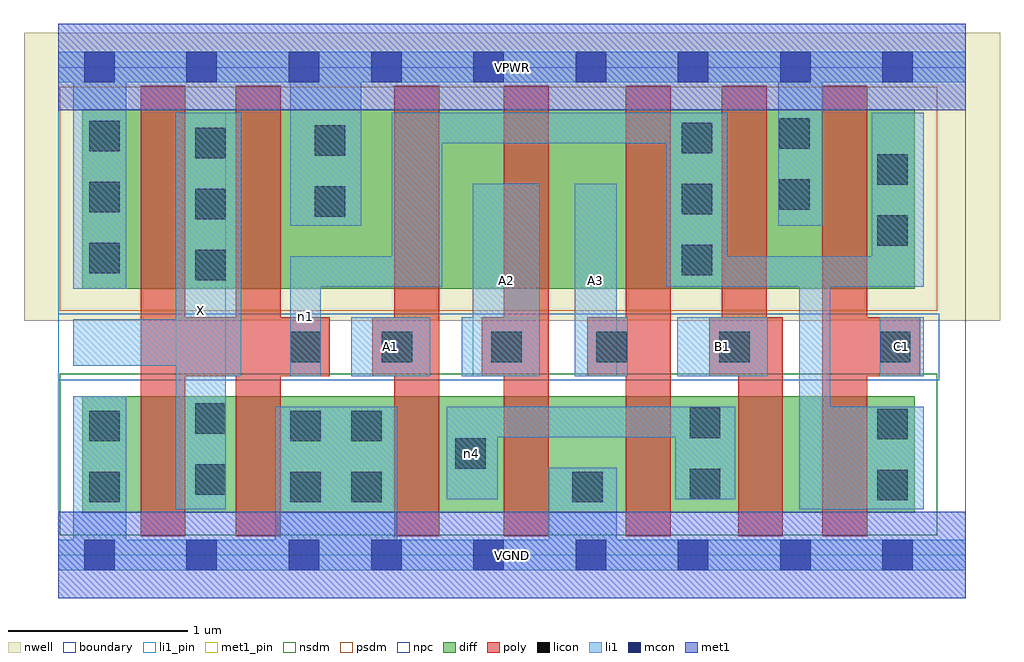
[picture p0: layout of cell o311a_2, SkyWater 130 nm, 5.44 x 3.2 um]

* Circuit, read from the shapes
.subckt o311a_2 A1 A2 A3 B1 C1 VGND VPWR X n1 n4
XM1 X n1 VGND VSUBS sky130_fd_pr__nfet_01v8 w=0.65 l=0.25 m=2
XM2 n4 A1 VGND VSUBS sky130_fd_pr__nfet_01v8 w=0.65 l=0.25
XM3 VGND A2 n4 VSUBS sky130_fd_pr__nfet_01v8 w=0.65 l=0.25
XM4 n4 A3 VGND VSUBS sky130_fd_pr__nfet_01v8 w=0.65 l=0.25
XM5 n2 B1 n4 VSUBS sky130_fd_pr__nfet_01v8 w=0.65 l=0.25
XM6 n1 C1 n2 VSUBS sky130_fd_pr__nfet_01v8 w=0.65 l=0.25
XM7 X n1 VPWR n3 sky130_fd_pr__pfet_01v8 w=1 l=0.25 m=2
XM8 n5 A1 VPWR n3 sky130_fd_pr__pfet_01v8 w=1 l=0.25
XM9 n6 A2 n5 n3 sky130_fd_pr__pfet_01v8 w=1 l=0.25
XM10 n1 A3 n6 n3 sky130_fd_pr__pfet_01v8 w=1 l=0.25
XM11 VPWR B1 n1 n3 sky130_fd_pr__pfet_01v8 w=1 l=0.25
XM12 n1 C1 VPWR n3 sky130_fd_pr__pfet_01v8 w=1 l=0.25
.ends

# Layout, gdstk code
import gdstk
lib = gdstk.Library(unit=1e-6, precision=1e-09)
def R(c, l, rs):  # rectangles x0, y0, x1, y1
    for r in rs: c.add(gdstk.rectangle(r[:2], r[2:], *l))
def A(c, l, x, y, w, h, nx, ny, dx, dy):  # array of equal rectangles
    R(c, l, [(x+i*dx, y+j*dy, x+i*dx+w, y+j*dy+h) for i in range(nx) for j in range(ny)])
nwell = (64, 20)
diff = (65, 20)
poly = (66, 20)
licon = (66, 44)
li1_pin = (67, 16)
li1 = (67, 20)
mcon = (67, 44)
met1_pin = (68, 16)
met1 = (68, 20)
nsdm = (93, 44)
psdm = (94, 20)
npc = (95, 20)
boundary = (235, 4)

o311a_2 = lib.new_cell('o311a_2')
R(o311a_2, nwell, [(-0.19,1.305,5.25,2.91), (0,1.305,5.06,2.91)])
R(o311a_2, diff, [(0.135,0.235,4.775,0.885), (0.135,1.485,4.775,2.485)])
R(o311a_2, poly, [(0.46,0.105,0.71,2.615), (0.99,0.105,1.24,2.615), (1.875,0.105,2.125,2.615), (2.485,0.105,2.735,2.615), (3.165,0.105,3.415,2.615), (3.79,0.105,4.04,1.325), (4.26,0.105,4.51,2.615), (0.46,0.995,1.515,1.325), (1.75,0.995,2.125,1.325), (2.36,0.995,2.735,1.325), (2.95,0.995,3.415,1.325), (3.63,0.995,4.04,1.325), (3.7,0.995,3.95,2.615), (4.26,0.995,4.805,1.325)])
A(o311a_2, licon, 0.765, 1.53, 0.17, 0.17, 1, 3, 0, 0.34)
A(o311a_2, licon, 3.475, 1.56, 0.17, 0.17, 1, 3, 0, 0.34)
A(o311a_2, licon, 0.175, 1.57, 0.17, 0.17, 1, 3, 0, 0.34)
R(o311a_2, licon, [(0.175,0.295,0.345,0.465), (1.295,0.295,1.465,0.465), (1.635,0.295,1.805,0.465), (2.865,0.295,3.035,0.465), (4.565,0.305,4.735,0.475), (3.52,0.31,3.69,0.48), (0.765,0.335,0.935,0.505), (2.215,0.48,2.385,0.65), (0.175,0.635,0.345,0.805), (1.295,0.635,1.465,0.805), (1.635,0.635,1.805,0.805), (4.565,0.645,4.735,0.815), (3.52,0.65,3.69,0.82), (0.765,0.675,0.935,0.845), (1.295,1.075,1.465,1.245), (1.805,1.075,1.975,1.245), (2.415,1.075,2.585,1.245), (3,1.075,3.17,1.245), (3.685,1.075,3.855,1.245), (4.58,1.075,4.75,1.245), (4.565,1.725,4.735,1.895), (1.43,1.885,1.6,2.055), (4.02,1.925,4.19,2.095), (4.565,2.065,4.735,2.235), (1.43,2.225,1.6,2.395), (4.02,2.265,4.19,2.435)])
R(o311a_2, li1_pin, [(0.655,0.255,0.935,2.465), (1.635,0.995,2.075,1.325), (2.31,0.995,2.685,2.07), (2.88,0.995,3.115,2.07), (3.45,0.995,3.955,1.325), (4.58,0.995,4.825,1.325)])
R(o311a_2, li1, [(0,-0.085,5.06,0.085), (0.085,-0.085,0.38,0.885), (1.21,-0.085,1.89,0.825), (2.735,-0.085,3.115,0.485), (0.655,0.255,0.935,2.465), (4.13,0.255,4.825,0.825), (4.13,0.255,4.305,1.665), (2.165,0.31,2.45,0.825), (3.44,0.31,3.775,0.825), (2.165,0.655,3.775,0.825), (0.655,0.995,1.02,2.465), (1.295,0.995,1.465,1.665), (1.635,0.995,2.075,1.325), (2.25,0.995,2.685,1.325), (2.31,0.995,2.685,2.07), (2.88,0.995,3.115,2.07), (2.88,0.995,3.175,1.325), (3.45,0.995,3.955,1.325), (4.58,0.995,4.825,1.325), (0.085,1.055,1.02,1.315), (0.085,1.485,0.38,2.805), (1.295,1.495,2.14,1.665), (1.86,1.495,2.14,2.465), (3.39,1.495,3.73,2.465), (3.39,1.495,4.825,1.665), (4.535,1.495,4.825,2.465), (1.295,1.835,1.69,2.805), (4.015,1.835,4.26,2.805), (1.86,2.295,3.73,2.465), (0,2.635,5.06,2.805)])
A(o311a_2, mcon, 0.145, -0.085, 0.17, 0.17, 3, 2, 0.57, 2.72)
A(o311a_2, mcon, 1.745, -0.085, 0.17, 0.17, 6, 2, 0.57, 2.72)
R(o311a_2, met1_pin, [(0,-0.24,5.06,0.24), (0,2.48,5.06,2.96)])
R(o311a_2, met1, [(0,-0.24,5.06,0.24), (0,2.48,5.06,2.96)])
R(o311a_2, nsdm, [(0.01,0.11,4.9,1.01)])
R(o311a_2, psdm, [(0.01,1.36,4.9,2.61)])
R(o311a_2, npc, [(0,0.975,4.91,1.345)])
R(o311a_2, boundary, [(0,0,5.06,2.72)])
o311a_2.add(gdstk.Label('A1', (1.855,1.16), layer=67, texttype=5))
o311a_2.add(gdstk.Label('A2', (2.497,1.532), layer=67, texttype=5))
o311a_2.add(gdstk.Label('A3', (2.997,1.532), layer=67, texttype=5))
o311a_2.add(gdstk.Label('B1', (3.702,1.16), layer=67, texttype=5))
o311a_2.add(gdstk.Label('C1', (4.702,1.16), layer=67, texttype=5))
o311a_2.add(gdstk.Label('X', (0.795,1.36), layer=67, texttype=5))
o311a_2.add(gdstk.Label('n4', (2.307,0.567), layer=67, texttype=5))
o311a_2.add(gdstk.Label('n1', (1.38,1.33), layer=67, texttype=5))
o311a_2.add(gdstk.Label('VPWR', (2.53,2.72), layer=68, texttype=5))
o311a_2.add(gdstk.Label('VGND', (2.53,0), layer=68, texttype=5))
o311a_2.add(gdstk.Label('A1', (1.855,1.16), layer=67, texttype=16))
o311a_2.add(gdstk.Label('A2', (2.497,1.532), layer=67, texttype=16))
o311a_2.add(gdstk.Label('A3', (2.997,1.532), layer=67, texttype=16))
o311a_2.add(gdstk.Label('B1', (3.702,1.16), layer=67, texttype=16))
o311a_2.add(gdstk.Label('C1', (4.702,1.16), layer=67, texttype=16))
o311a_2.add(gdstk.Label('X', (0.795,1.36), layer=67, texttype=16))
o311a_2.add(gdstk.Label('VPWR', (2.53,2.72), layer=68, texttype=16))
o311a_2.add(gdstk.Label('VGND', (2.53,0), layer=68, texttype=16))

lib.write_gds('o311a_2.gds')
